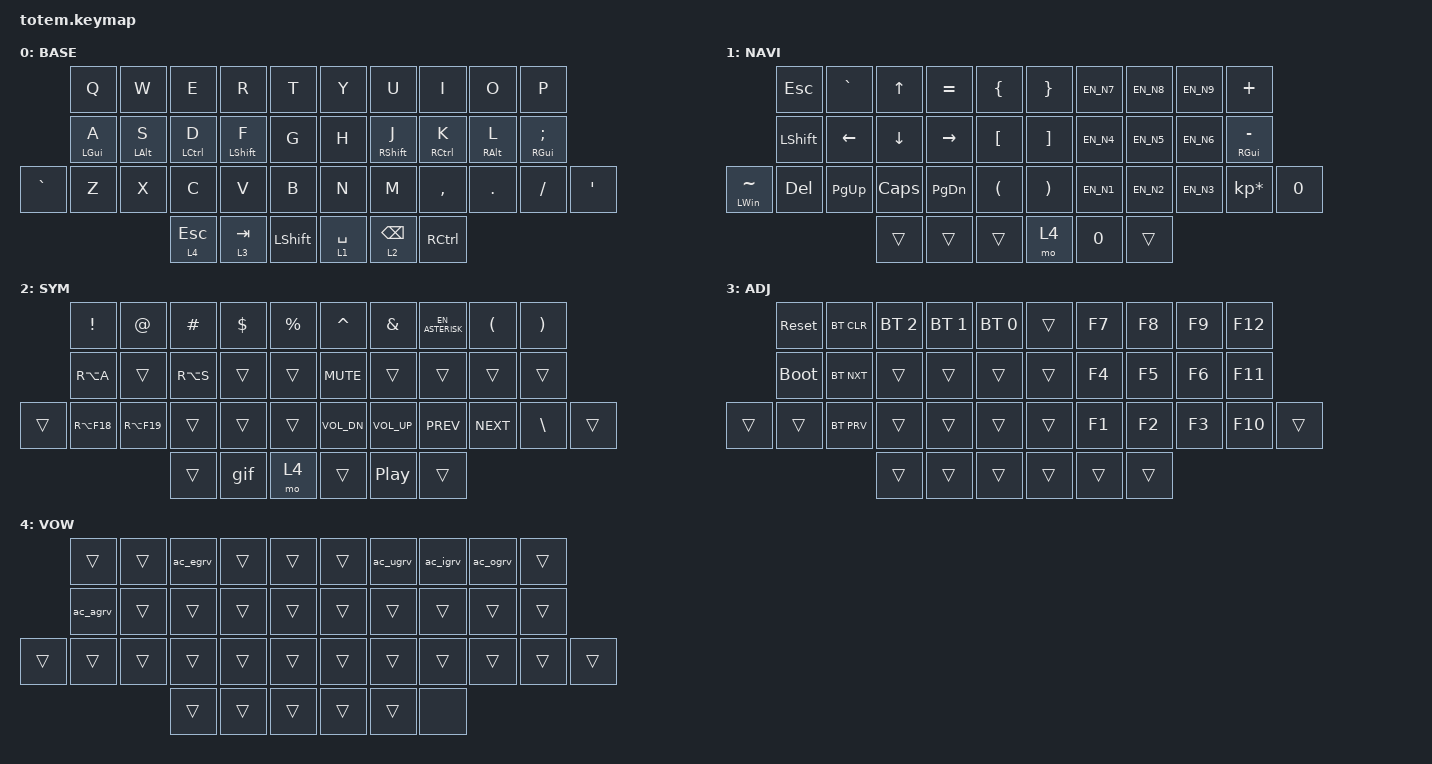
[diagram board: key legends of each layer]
//
//                                                        ▀▀▀▀▀     ▀▀▀▀▀          ▀▀█▀▀
//                                                        ▄▀▀▀▄  ▄  ▄▀▀▀▄  ▄  ▄▀▀▀▄  █  ▄▀▀▀▄
//                                                        █   █  █  █   █  █  █   █  █  █   █
//                                                         ▀▀▀   █   ▀▀▀   █   ▀▀▀   ▀   ▀▀▀
//                                                               █      ▄▄▄█▄▄▄    █   █  
//                                                               ▀      █  █  █     █▄█
//                                                             ▀▀▀▀▀    █  █  █      ▀
//                                                                      ▀  ▀  ▀
//
// ▄▄▄▄▄▄▄▄▄▄▄▄▄▄▄▄▄▄▄▄▄▄▄▄▄▄▄▄▄▄▄▄▄▄▄▄▄▄▄▄▄▄▄▄▄▄▄▄▄▄▄▄▄▄▄▄▄▄▄▄▄▄▄▄▄▄▄▄▄▄▄▄▄▄▄▄▄▄▄▄▄▄▄▄▄▄▄▄▄▄▄▄▄▄▄▄▄▄▄▄▄▄▄▄▄▄▄▄▄▄▄▄▄▄▄▄▄▄▄▄▄▄▄▄▄▄▄▄▄▄▄▄▄▄▄▄▄▄▄▄▄▄▄▄▄▄▄▄▄

#include "keys_us_international.h"
#include "features/accents.dtsi"
#include "zmk-helpers/key-labels/36.h"
#include <behaviors.dtsi>
#include <dt-bindings/zmk/bt.h>
#include <dt-bindings/zmk/keys.h>

#define KEYS_L LT0 LT1 LT2 LT3 LT4 LM0 LM1 LM2 LM3 LM4 LB0 LB1 LB2 LB3 LB4  // Left-hand keys
#define KEYS_R RT0 RT1 RT2 RT3 RT4 RM0 RM1 RM2 RM3 RM4 RB0 RB1 RB2 RB3 RB4  // Right-hand keys
#define THUMBS LH2 LH1 LH0 RH0 RH1 RH2                                      // Thumb keys
#define BASE 0
#define NAV  1
#define SYM  2
#define ADJ  3
#define TVP1 4
#define TVP2 5

/*
&mt {
    quick-tap-ms = <100>;
    global-quick-tap;
    flavor = "tap-preferred";
    tapping-term-ms = <170>;
};
*/

/ {
    behaviors {
        hml: homerow_mods_left {
            compatible = "zmk,behavior-hold-tap";
            label = "HOMEROW_MODS_LEFT";
            #binding-cells = <2>;
            flavor = "balanced";
            tapping-term-ms = <280>;
            quick-tap-ms = <175>;
            require-prior-idle-ms = <150>;
            bindings = <&kp>, <&kp>;

            hold-trigger-key-positions = <KEYS_R THUMBS>;
            hold-trigger-on-release;
        };

        hmr: homerow_mods_right {
            compatible = "zmk,behavior-hold-tap";
            label = "HOMEROW_MODS_RIGHT";
            #binding-cells = <2>;
            flavor = "balanced";
            tapping-term-ms = <280>;
            quick-tap-ms = <175>;
            require-prior-idle-ms = <150>;
            bindings = <&kp>, <&kp>;

            hold-trigger-key-positions = <KEYS_L THUMBS>;
            hold-trigger-on-release;
        };
    };
};

/ {
    combos {
        compatible = "zmk,combos";

        combo_esc {
            timeout-ms = <50>;
            key-positions = <1 2>;
            bindings = <&kp ESC>;
        };

        enter {
            bindings = <&kp ENTER>;
            key-positions = <16 17 18>;
        };

        Backspace {
            bindings = <&kp BACKSPACE>;
            key-positions = <6 7>;
        };

        Delete {
            bindings = <&kp DELETE>;
            key-positions = <8 7>;
        };
    };

    macros {
        gif: gif {
            label = "giphy";
            compatible = "zmk,behavior-macro";
            #binding-cells = <0>;
            bindings =
                <&macro_press>,
                <&kp LSHFT>,
                <&macro_tap>,
                <&kp N2>,
                <&macro_release>,
                <&kp LSHFT>,
                <&macro_tap>,
                <&kp G &kp I &kp F>;
        };

        test_macro: test_macro {
            compatible = "zmk,behavior-macro";
            #binding-cells = <0>;
            bindings = <&none>;
            label = "TEST_MACRO";
        };
    };

    keymap {
        compatible = "zmk,keymap";

        // ▄▄▄▄▄▄▄▄▄▄▄▄▄▄▄▄▄▄▄▄▄▄▄▄▄▄▄▄▄▄▄▄▄▄▄▄▄▄▄▄▄▄▄▄▄▄▄▄▄▄▄▄▄▄▄▄▄▄▄▄▄▄▄▄▄▄▄▄▄▄▄▄▄▄▄▄▄▄▄▄▄▄▄▄▄▄▄▄▄▄▄▄▄▄▄▄▄▄▄▄▄▄▄▄▄▄▄▄▄▄▄▄▄▄▄▄▄▄▄▄▄▄▄▄▄▄▄▄▄▄▄▄▄▄▄▄▄▄▄▄▄▄▄▄▄▄▄▄▄

        base_layer {
            // ┏━━━━━━━━━━━━━━━━━━━━━━━━━━━━━━━━━━━━━━━┓

            label = "BASE";

            bindings = <
           &kp Q            &kp W        &kp E                &kp R              &kp T             &kp Y        &kp U               &kp I                 &kp O             &kp P
           &hml LEFT_GUI A  &hml LALT S  &hml LEFT_CONTROL D  &hml LEFT_SHIFT F  &kp G             &kp H        &hmr RIGHT_SHIFT J  &hmr RIGHT_CONTROL K  &hmr RIGHT_ALT L  &hmr RIGHT_GUI SEMI
&kp GRAVE  &kp Z            &kp X        &kp C                &kp V              &kp B             &kp N        &kp M               &kp COMMA             &kp DOT           &kp FSLH             &kp APOSTROPHE
                                         &lt 4 ESC            &lt 3 TAB          &kp LEFT_SHIFT    &lt 1 SPACE  &lt 2 BACKSPACE     &kp RCTRL
            >;
        };

        nav_layer {
            // ┏━━━━━━━━━━━━━━━━━━━━━━━━━━━━━━━━━━━━━━━┓

            label = "NAVI";


            bindings = <
                &kp ESC    &kp GRAVE  &kp UP    &kp EQUAL  &kp LBRC    &kp RBRC  &kp EN_N7  &kp EN_N8  &kp EN_N9  &kp PLUS
                &kp LSHFT  &kp LEFT   &kp DOWN  &kp RIGHT  &kp LBKT    &kp RBKT  &kp EN_N4  &kp EN_N5  &kp EN_N6  &mt RIGHT_GUI MINUS
&mt LWIN TILDE  &kp DEL    &kp PG_UP  &kp CAPS  &kp PG_DN  &kp LPAR    &kp RPAR  &kp EN_N1  &kp EN_N2  &kp EN_N3  &kp KP_MULTIPLY      &kp NUMBER_0
                                      &trans    &trans     &trans      &mo 4     &kp N0     &trans
            >;
        };

        sim_layer {
            // ┏━━━━━━━━━━━━━━━━━━━━━━━━━━━━━━━━━━━━━━━┓

            label = "SYM";


            bindings = <
        &kp EXCL     &kp AT       &kp POUND  &kp DLLR  &kp PRCNT    &kp CARET     &kp AMPS      &kp EN_ASTERISK  &kp LPAR    &kp RPAR
        &kp RA(A)    &trans       &kp RA(S)  &trans    &trans       &kp C_MUTE    &trans        &trans           &trans      &trans
&trans  &kp RA(F18)  &kp RA(F19)  &trans     &trans    &trans       &kp C_VOL_DN  &kp C_VOL_UP  &kp C_PREV       &kp C_NEXT  &kp BSLH  &trans
                                  &trans     &gif      &mo 4        &trans        &kp C_PP      &trans
            >;
        };

        adjust_layer {
            // ┏━━━━━━━━━━━━━━━━━━━━━━━━━━━━━━━━━━━━━━━┓

            label = "ADJ";


            bindings = <
        &sys_reset   &bt BT_CLR  &bt BT_SEL 2  &bt BT_SEL 1  &bt BT_SEL 0    &trans  &kp F7  &kp F8  &kp F9  &kp F12
        &bootloader  &bt BT_NXT  &trans        &trans        &trans          &trans  &kp F4  &kp F5  &kp F6  &kp F11
&trans  &trans       &bt BT_PRV  &trans        &trans        &trans          &trans  &kp F1  &kp F2  &kp F3  &kp F10  &trans
                                 &trans        &trans        &trans          &trans  &trans  &trans
            >;
        };

        acc_layer {
            // ┏━━━━━━━━━━━━━━━━━━━━━━━━━━━━━━━━━━━━━━━┓

            label = "VOW";

            bindings = <
        &trans    &trans  &ac_egrv  &trans  &trans    &trans  &ac_ugrv  &ac_igrv  &ac_ogrv  &trans
        &ac_agrv  &trans  &trans    &trans  &trans    &trans  &trans    &trans    &trans    &trans
&trans  &trans    &trans  &trans    &trans  &trans    &trans  &trans    &trans    &trans    &trans  &trans
                          &trans    &trans  &trans    &trans  &trans    &none
            >;
        };
    };
};
